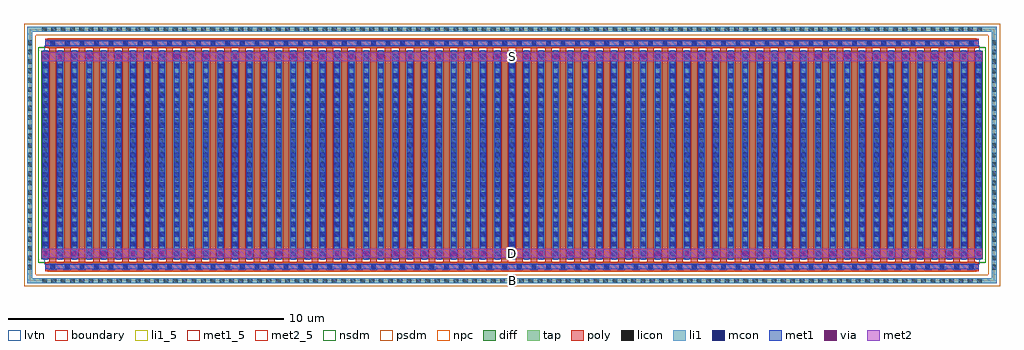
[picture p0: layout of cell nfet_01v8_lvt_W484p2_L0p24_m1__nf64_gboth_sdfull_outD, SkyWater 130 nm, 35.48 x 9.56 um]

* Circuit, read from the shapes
.subckt nfet_01v8_lvt_W484p2_L0p24_m1__nf64_gboth_sdfull_outD B D G S
XM1 S G D B sky130_fd_pr__nfet_01v8_lvt w=7.57 l=0.24 m=64
.ends

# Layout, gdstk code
import gdstk
lib = gdstk.Library(unit=1e-6, precision=1e-09)
def R(c, l, rs):  # rectangles x0, y0, x1, y1
    for r in rs: c.add(gdstk.rectangle(r[:2], r[2:], *l))
def A(c, l, x, y, w, h, nx, ny, dx, dy):  # array of equal rectangles
    R(c, l, [(x+i*dx, y+j*dy, x+i*dx+w, y+j*dy+h) for i in range(nx) for j in range(ny)])
diff = (65, 20)
tap = (65, 44)
poly = (66, 20)
licon = (66, 44)
li1_5 = (67, 5)
li1 = (67, 20)
mcon = (67, 44)
met1_5 = (68, 5)
met1 = (68, 20)
via = (68, 44)
met2_5 = (69, 5)
met2 = (69, 20)
nsdm = (93, 44)
psdm = (94, 20)
npc = (95, 20)
lvtn = (125, 44)
boundary = (235, 4)

sky130_fd_pr__nfet_01v8_ = lib.new_cell('sky130_fd_pr__nfet_01v8_lvt_2WZ8XV')
R(sky130_fd_pr__nfet_01v8_, diff, [(-17.105,-3.785,17.105,3.785)])
R(sky130_fd_pr__nfet_01v8_, tap, [(-17.615,-4.655,17.615,-4.485), (-17.615,-4.485,-17.445,4.485), (17.445,-4.485,17.615,4.485), (-17.615,4.485,17.615,4.655)])
A(sky130_fd_pr__nfet_01v8_, poly, -16.815, -3.895, 0.24, 7.79, 64, 1, 0.53, 0)
R(sky130_fd_pr__nfet_01v8_, poly, [(-16.96,-4.225,16.96,-3.895), (-16.96,3.895,16.96,4.225)])
A(sky130_fd_pr__nfet_01v8_, licon, -17.085, -4.655, 0.17, 0.17, 101, 2, 0.34, 9.14)
A(sky130_fd_pr__nfet_01v8_, licon, -17.615, -4.165, 0.17, 0.17, 1, 25, 0, 0.34)
A(sky130_fd_pr__nfet_01v8_, licon, 17.445, -4.165, 0.17, 0.17, 1, 25, 0, 0.34)
A(sky130_fd_pr__nfet_01v8_, licon, -16.78, -4.145, 0.17, 0.17, 64, 2, 0.53, 8.12)
A(sky130_fd_pr__nfet_01v8_, licon, -17.045, -3.655, 0.17, 0.17, 65, 22, 0.53, 0.34)
A(sky130_fd_pr__nfet_01v8_, li1, -17.045, -3.805, 0.17, 7.61, 65, 1, 0.53, 0)
R(sky130_fd_pr__nfet_01v8_, li1, [(-17.615,-4.655,17.615,-4.485), (-17.615,-4.485,-17.445,4.485), (17.445,-4.485,17.615,4.485), (-16.96,-4.145,16.96,-3.975), (-16.96,3.975,16.96,4.145), (-17.615,4.485,17.615,4.655)])
A(sky130_fd_pr__nfet_01v8_, mcon, -16.78, -4.145, 0.17, 0.17, 64, 2, 0.53, 8.12)
A(sky130_fd_pr__nfet_01v8_, mcon, -17.045, -3.685, 0.17, 0.17, 65, 21, 0.53, 0.36)
A(sky130_fd_pr__nfet_01v8_, met1, -16.84, -4.175, 0.29, 0.03, 64, 2, 0.53, 0.2)
A(sky130_fd_pr__nfet_01v8_, met1, -17.075, -3.785, 0.23, 7.57, 65, 1, 0.53, 0)
A(sky130_fd_pr__nfet_01v8_, met1, -16.84, 3.945, 0.29, 0.03, 64, 2, 0.53, 0.2)
R(sky130_fd_pr__nfet_01v8_, met1, [(-16.96,-4.145,16.96,-3.975), (-16.96,3.975,16.96,4.145)])
R(sky130_fd_pr__nfet_01v8_, nsdm, [(-17.23,-3.91,17.23,3.91)])
R(sky130_fd_pr__nfet_01v8_, psdm, [(-17.74,-4.78,17.74,-4.36), (-17.74,-4.36,-17.32,4.36), (17.32,-4.36,17.74,4.36), (-17.74,4.36,17.74,4.78)])
R(sky130_fd_pr__nfet_01v8_, npc, [(-16.88,-4.245,16.88,-3.875), (-16.88,3.875,16.88,4.245)])
R(sky130_fd_pr__nfet_01v8_, lvtn, [(-16.995,-3.965,16.995,3.965)])
R(sky130_fd_pr__nfet_01v8_, boundary, [(-17.53,-4.57,17.53,4.57)])
sky130_fd_pr__nfet_01v8_.add(gdstk.Label('B', (0,-4.57), layer=67, texttype=5))
sky130_fd_pr__nfet_01v8_.add(gdstk.Label('D0', (-16.96,0), layer=67, texttype=5))
sky130_fd_pr__nfet_01v8_.add(gdstk.Label('G', (16.695,4.06), layer=67, texttype=5))
sky130_fd_pr__nfet_01v8_.add(gdstk.Label('G', (16.165,4.06), layer=67, texttype=5))
sky130_fd_pr__nfet_01v8_.add(gdstk.Label('G', (15.635,4.06), layer=67, texttype=5))
sky130_fd_pr__nfet_01v8_.add(gdstk.Label('G', (15.105,4.06), layer=67, texttype=5))
sky130_fd_pr__nfet_01v8_.add(gdstk.Label('G', (14.575,4.06), layer=67, texttype=5))
sky130_fd_pr__nfet_01v8_.add(gdstk.Label('G', (14.045,4.06), layer=67, texttype=5))
sky130_fd_pr__nfet_01v8_.add(gdstk.Label('G', (13.515,4.06), layer=67, texttype=5))
sky130_fd_pr__nfet_01v8_.add(gdstk.Label('G', (12.985,4.06), layer=67, texttype=5))
sky130_fd_pr__nfet_01v8_.add(gdstk.Label('G', (12.455,4.06), layer=67, texttype=5))
sky130_fd_pr__nfet_01v8_.add(gdstk.Label('G', (11.925,4.06), layer=67, texttype=5))
sky130_fd_pr__nfet_01v8_.add(gdstk.Label('G', (11.395,4.06), layer=67, texttype=5))
sky130_fd_pr__nfet_01v8_.add(gdstk.Label('G', (10.865,4.06), layer=67, texttype=5))
sky130_fd_pr__nfet_01v8_.add(gdstk.Label('G', (10.335,4.06), layer=67, texttype=5))
sky130_fd_pr__nfet_01v8_.add(gdstk.Label('G', (9.805,4.06), layer=67, texttype=5))
sky130_fd_pr__nfet_01v8_.add(gdstk.Label('G', (9.275,4.06), layer=67, texttype=5))
sky130_fd_pr__nfet_01v8_.add(gdstk.Label('G', (8.745,4.06), layer=67, texttype=5))
sky130_fd_pr__nfet_01v8_.add(gdstk.Label('G', (8.215,4.06), layer=67, texttype=5))
sky130_fd_pr__nfet_01v8_.add(gdstk.Label('G', (7.685,4.06), layer=67, texttype=5))
sky130_fd_pr__nfet_01v8_.add(gdstk.Label('G', (7.155,4.06), layer=67, texttype=5))
sky130_fd_pr__nfet_01v8_.add(gdstk.Label('G', (6.625,4.06), layer=67, texttype=5))
sky130_fd_pr__nfet_01v8_.add(gdstk.Label('G', (6.095,4.06), layer=67, texttype=5))
sky130_fd_pr__nfet_01v8_.add(gdstk.Label('G', (5.565,4.06), layer=67, texttype=5))
sky130_fd_pr__nfet_01v8_.add(gdstk.Label('G', (5.035,4.06), layer=67, texttype=5))
sky130_fd_pr__nfet_01v8_.add(gdstk.Label('G', (4.505,4.06), layer=67, texttype=5))
sky130_fd_pr__nfet_01v8_.add(gdstk.Label('G', (3.975,4.06), layer=67, texttype=5))
sky130_fd_pr__nfet_01v8_.add(gdstk.Label('G', (3.445,4.06), layer=67, texttype=5))
sky130_fd_pr__nfet_01v8_.add(gdstk.Label('G', (2.915,4.06), layer=67, texttype=5))
sky130_fd_pr__nfet_01v8_.add(gdstk.Label('G', (2.385,4.06), layer=67, texttype=5))
sky130_fd_pr__nfet_01v8_.add(gdstk.Label('G', (1.855,4.06), layer=67, texttype=5))
sky130_fd_pr__nfet_01v8_.add(gdstk.Label('G', (1.325,4.06), layer=67, texttype=5))
sky130_fd_pr__nfet_01v8_.add(gdstk.Label('G', (0.795,4.06), layer=67, texttype=5))
sky130_fd_pr__nfet_01v8_.add(gdstk.Label('G', (0.265,4.06), layer=67, texttype=5))
sky130_fd_pr__nfet_01v8_.add(gdstk.Label('G', (-0.265,4.06), layer=67, texttype=5))
sky130_fd_pr__nfet_01v8_.add(gdstk.Label('G', (-0.795,4.06), layer=67, texttype=5))
sky130_fd_pr__nfet_01v8_.add(gdstk.Label('G', (-1.325,4.06), layer=67, texttype=5))
sky130_fd_pr__nfet_01v8_.add(gdstk.Label('G', (-1.855,4.06), layer=67, texttype=5))
sky130_fd_pr__nfet_01v8_.add(gdstk.Label('G', (-2.385,4.06), layer=67, texttype=5))
sky130_fd_pr__nfet_01v8_.add(gdstk.Label('G', (-2.915,4.06), layer=67, texttype=5))
sky130_fd_pr__nfet_01v8_.add(gdstk.Label('G', (-3.445,4.06), layer=67, texttype=5))
sky130_fd_pr__nfet_01v8_.add(gdstk.Label('G', (-3.975,4.06), layer=67, texttype=5))
sky130_fd_pr__nfet_01v8_.add(gdstk.Label('G', (-4.505,4.06), layer=67, texttype=5))
sky130_fd_pr__nfet_01v8_.add(gdstk.Label('G', (-5.035,4.06), layer=67, texttype=5))
sky130_fd_pr__nfet_01v8_.add(gdstk.Label('G', (-5.565,4.06), layer=67, texttype=5))
sky130_fd_pr__nfet_01v8_.add(gdstk.Label('G', (-6.095,4.06), layer=67, texttype=5))
sky130_fd_pr__nfet_01v8_.add(gdstk.Label('G', (-6.625,4.06), layer=67, texttype=5))
sky130_fd_pr__nfet_01v8_.add(gdstk.Label('G', (-7.155,4.06), layer=67, texttype=5))
sky130_fd_pr__nfet_01v8_.add(gdstk.Label('G', (-7.685,4.06), layer=67, texttype=5))
sky130_fd_pr__nfet_01v8_.add(gdstk.Label('G', (-8.215,4.06), layer=67, texttype=5))
sky130_fd_pr__nfet_01v8_.add(gdstk.Label('G', (-8.745,4.06), layer=67, texttype=5))
sky130_fd_pr__nfet_01v8_.add(gdstk.Label('G', (-9.275,4.06), layer=67, texttype=5))
sky130_fd_pr__nfet_01v8_.add(gdstk.Label('G', (-9.805,4.06), layer=67, texttype=5))
sky130_fd_pr__nfet_01v8_.add(gdstk.Label('G', (-10.335,4.06), layer=67, texttype=5))
sky130_fd_pr__nfet_01v8_.add(gdstk.Label('G', (-10.865,4.06), layer=67, texttype=5))
sky130_fd_pr__nfet_01v8_.add(gdstk.Label('G', (-11.395,4.06), layer=67, texttype=5))
sky130_fd_pr__nfet_01v8_.add(gdstk.Label('G', (-11.925,4.06), layer=67, texttype=5))
sky130_fd_pr__nfet_01v8_.add(gdstk.Label('G', (-12.455,4.06), layer=67, texttype=5))
sky130_fd_pr__nfet_01v8_.add(gdstk.Label('G', (-12.985,4.06), layer=67, texttype=5))
sky130_fd_pr__nfet_01v8_.add(gdstk.Label('G', (-13.515,4.06), layer=67, texttype=5))
sky130_fd_pr__nfet_01v8_.add(gdstk.Label('G', (-14.045,4.06), layer=67, texttype=5))
sky130_fd_pr__nfet_01v8_.add(gdstk.Label('G', (-14.575,4.06), layer=67, texttype=5))
sky130_fd_pr__nfet_01v8_.add(gdstk.Label('G', (-15.105,4.06), layer=67, texttype=5))
sky130_fd_pr__nfet_01v8_.add(gdstk.Label('G', (-15.635,4.06), layer=67, texttype=5))
sky130_fd_pr__nfet_01v8_.add(gdstk.Label('G', (-16.165,4.06), layer=67, texttype=5))
sky130_fd_pr__nfet_01v8_.add(gdstk.Label('G', (-16.695,4.06), layer=67, texttype=5))
sky130_fd_pr__nfet_01v8_.add(gdstk.Label('S1', (-16.43,0), layer=67, texttype=5))
sky130_fd_pr__nfet_01v8_.add(gdstk.Label('D2', (-15.9,0), layer=67, texttype=5))
sky130_fd_pr__nfet_01v8_.add(gdstk.Label('S3', (-15.37,0), layer=67, texttype=5))
sky130_fd_pr__nfet_01v8_.add(gdstk.Label('D4', (-14.84,0), layer=67, texttype=5))
sky130_fd_pr__nfet_01v8_.add(gdstk.Label('S5', (-14.31,0), layer=67, texttype=5))
sky130_fd_pr__nfet_01v8_.add(gdstk.Label('D6', (-13.78,0), layer=67, texttype=5))
sky130_fd_pr__nfet_01v8_.add(gdstk.Label('S7', (-13.25,0), layer=67, texttype=5))
sky130_fd_pr__nfet_01v8_.add(gdstk.Label('D8', (-12.72,0), layer=67, texttype=5))
sky130_fd_pr__nfet_01v8_.add(gdstk.Label('S9', (-12.19,0), layer=67, texttype=5))
sky130_fd_pr__nfet_01v8_.add(gdstk.Label('D10', (-11.66,0), layer=67, texttype=5))
sky130_fd_pr__nfet_01v8_.add(gdstk.Label('S11', (-11.13,0), layer=67, texttype=5))
sky130_fd_pr__nfet_01v8_.add(gdstk.Label('D12', (-10.6,0), layer=67, texttype=5))
sky130_fd_pr__nfet_01v8_.add(gdstk.Label('S13', (-10.07,0), layer=67, texttype=5))
sky130_fd_pr__nfet_01v8_.add(gdstk.Label('D14', (-9.54,0), layer=67, texttype=5))
sky130_fd_pr__nfet_01v8_.add(gdstk.Label('S15', (-9.01,0), layer=67, texttype=5))
sky130_fd_pr__nfet_01v8_.add(gdstk.Label('D16', (-8.48,0), layer=67, texttype=5))
sky130_fd_pr__nfet_01v8_.add(gdstk.Label('S17', (-7.95,0), layer=67, texttype=5))
sky130_fd_pr__nfet_01v8_.add(gdstk.Label('D18', (-7.42,0), layer=67, texttype=5))
sky130_fd_pr__nfet_01v8_.add(gdstk.Label('S19', (-6.89,0), layer=67, texttype=5))
sky130_fd_pr__nfet_01v8_.add(gdstk.Label('D20', (-6.36,0), layer=67, texttype=5))
sky130_fd_pr__nfet_01v8_.add(gdstk.Label('S21', (-5.83,0), layer=67, texttype=5))
sky130_fd_pr__nfet_01v8_.add(gdstk.Label('D22', (-5.3,0), layer=67, texttype=5))
sky130_fd_pr__nfet_01v8_.add(gdstk.Label('S23', (-4.77,0), layer=67, texttype=5))
sky130_fd_pr__nfet_01v8_.add(gdstk.Label('D24', (-4.24,0), layer=67, texttype=5))
sky130_fd_pr__nfet_01v8_.add(gdstk.Label('S25', (-3.71,0), layer=67, texttype=5))
sky130_fd_pr__nfet_01v8_.add(gdstk.Label('D26', (-3.18,0), layer=67, texttype=5))
sky130_fd_pr__nfet_01v8_.add(gdstk.Label('S27', (-2.65,0), layer=67, texttype=5))
sky130_fd_pr__nfet_01v8_.add(gdstk.Label('D28', (-2.12,0), layer=67, texttype=5))
sky130_fd_pr__nfet_01v8_.add(gdstk.Label('S29', (-1.59,0), layer=67, texttype=5))
sky130_fd_pr__nfet_01v8_.add(gdstk.Label('D30', (-1.06,0), layer=67, texttype=5))
sky130_fd_pr__nfet_01v8_.add(gdstk.Label('S31', (-0.53,0), layer=67, texttype=5))
sky130_fd_pr__nfet_01v8_.add(gdstk.Label('D32', (0,0), layer=67, texttype=5))
sky130_fd_pr__nfet_01v8_.add(gdstk.Label('S33', (0.53,0), layer=67, texttype=5))
sky130_fd_pr__nfet_01v8_.add(gdstk.Label('D34', (1.06,0), layer=67, texttype=5))
sky130_fd_pr__nfet_01v8_.add(gdstk.Label('S35', (1.59,0), layer=67, texttype=5))
sky130_fd_pr__nfet_01v8_.add(gdstk.Label('D36', (2.12,0), layer=67, texttype=5))
sky130_fd_pr__nfet_01v8_.add(gdstk.Label('S37', (2.65,0), layer=67, texttype=5))
sky130_fd_pr__nfet_01v8_.add(gdstk.Label('D38', (3.18,0), layer=67, texttype=5))
sky130_fd_pr__nfet_01v8_.add(gdstk.Label('S39', (3.71,0), layer=67, texttype=5))
sky130_fd_pr__nfet_01v8_.add(gdstk.Label('D40', (4.24,0), layer=67, texttype=5))
sky130_fd_pr__nfet_01v8_.add(gdstk.Label('S41', (4.77,0), layer=67, texttype=5))
sky130_fd_pr__nfet_01v8_.add(gdstk.Label('D42', (5.3,0), layer=67, texttype=5))
sky130_fd_pr__nfet_01v8_.add(gdstk.Label('S43', (5.83,0), layer=67, texttype=5))
sky130_fd_pr__nfet_01v8_.add(gdstk.Label('D44', (6.36,0), layer=67, texttype=5))
sky130_fd_pr__nfet_01v8_.add(gdstk.Label('S45', (6.89,0), layer=67, texttype=5))
sky130_fd_pr__nfet_01v8_.add(gdstk.Label('D46', (7.42,0), layer=67, texttype=5))
sky130_fd_pr__nfet_01v8_.add(gdstk.Label('S47', (7.95,0), layer=67, texttype=5))
sky130_fd_pr__nfet_01v8_.add(gdstk.Label('D48', (8.48,0), layer=67, texttype=5))
sky130_fd_pr__nfet_01v8_.add(gdstk.Label('S49', (9.01,0), layer=67, texttype=5))
sky130_fd_pr__nfet_01v8_.add(gdstk.Label('D50', (9.54,0), layer=67, texttype=5))
sky130_fd_pr__nfet_01v8_.add(gdstk.Label('S51', (10.07,0), layer=67, texttype=5))
sky130_fd_pr__nfet_01v8_.add(gdstk.Label('D52', (10.6,0), layer=67, texttype=5))
sky130_fd_pr__nfet_01v8_.add(gdstk.Label('S53', (11.13,0), layer=67, texttype=5))
sky130_fd_pr__nfet_01v8_.add(gdstk.Label('D54', (11.66,0), layer=67, texttype=5))
sky130_fd_pr__nfet_01v8_.add(gdstk.Label('S55', (12.19,0), layer=67, texttype=5))
sky130_fd_pr__nfet_01v8_.add(gdstk.Label('D56', (12.72,0), layer=67, texttype=5))
sky130_fd_pr__nfet_01v8_.add(gdstk.Label('S57', (13.25,0), layer=67, texttype=5))
sky130_fd_pr__nfet_01v8_.add(gdstk.Label('D58', (13.78,0), layer=67, texttype=5))
sky130_fd_pr__nfet_01v8_.add(gdstk.Label('S59', (14.31,0), layer=67, texttype=5))
sky130_fd_pr__nfet_01v8_.add(gdstk.Label('D60', (14.84,0), layer=67, texttype=5))
sky130_fd_pr__nfet_01v8_.add(gdstk.Label('S61', (15.37,0), layer=67, texttype=5))
sky130_fd_pr__nfet_01v8_.add(gdstk.Label('D62', (15.9,0), layer=67, texttype=5))
sky130_fd_pr__nfet_01v8_.add(gdstk.Label('S63', (16.43,0), layer=67, texttype=5))

nfet_01v8_lvt_w484p2_l0p = lib.new_cell('nfet_01v8_lvt_W484p2_L0p24_m1__nf64_gboth_sdfull_outD')
R(nfet_01v8_lvt_w484p2_l0p, li1_5, [(17.445,-0.085,17.615,0.085)])
R(nfet_01v8_lvt_w484p2_l0p, li1, [(17.445,-0.085,17.615,0.085)])
R(nfet_01v8_lvt_w484p2_l0p, met1_5, [(0.57,8.515,34.49,8.745)])
A(nfet_01v8_lvt_w484p2_l0p, met1, 0.44, 0.835, 0.26, 0.32, 33, 1, 1.06, 0)
A(nfet_01v8_lvt_w484p2_l0p, met1, 0.97, 7.985, 0.26, 0.32, 32, 1, 1.06, 0)
R(nfet_01v8_lvt_w484p2_l0p, met1, [(0.57,8.515,34.49,8.745)])
A(nfet_01v8_lvt_w484p2_l0p, via, 0.495, 0.92, 0.15, 0.15, 33, 1, 1.06, 0)
A(nfet_01v8_lvt_w484p2_l0p, via, 1.025, 8.07, 0.15, 0.15, 32, 1, 1.06, 0)
R(nfet_01v8_lvt_w484p2_l0p, met2_5, [(0.435,0.835,34.625,1.155), (0.435,7.985,34.625,8.305)])
R(nfet_01v8_lvt_w484p2_l0p, met2, [(0.435,0.835,34.625,1.155), (0.435,7.985,34.625,8.305)])
nfet_01v8_lvt_w484p2_l0p.add(gdstk.Reference(sky130_fd_pr__nfet_01v8_, (17.53,4.57)))
nfet_01v8_lvt_w484p2_l0p.add(gdstk.Label('S', (17.53,8.145), layer=69, texttype=5))
nfet_01v8_lvt_w484p2_l0p.add(gdstk.Label('D', (17.53,0.995), layer=69, texttype=5))
nfet_01v8_lvt_w484p2_l0p.add(gdstk.Label('G', (17.53,8.63), layer=68, texttype=5))
nfet_01v8_lvt_w484p2_l0p.add(gdstk.Label('B', (17.53,0), layer=67, texttype=5))

lib.write_gds('nfet_01v8_lvt_W484p2_L0p24_m1__nf64_gboth_sdfull_outD.gds')
